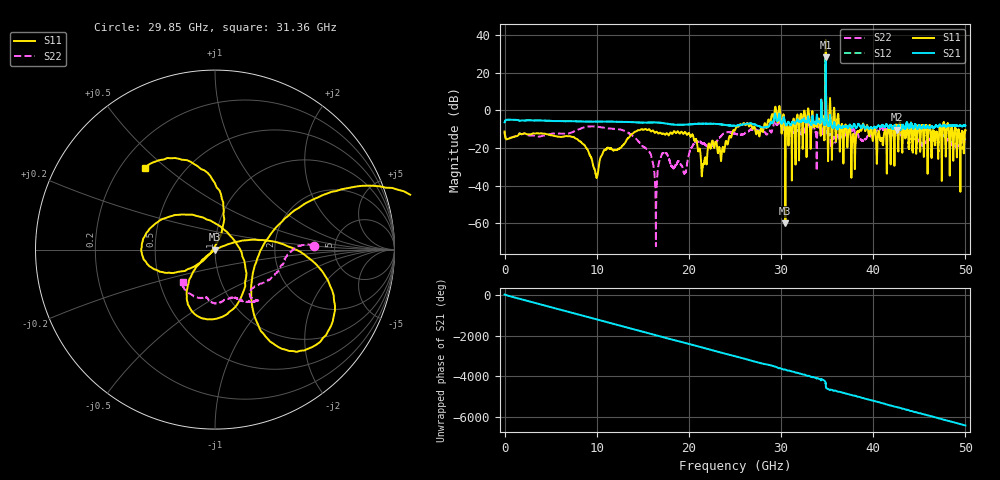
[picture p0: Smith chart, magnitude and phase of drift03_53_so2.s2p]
!Created with skrf (http://scikit-rf.org).
# Hz S RI R 50.0
!freq ReS11 ImS11 ReS21 ImS21 ReS12 ImS12 ReS22 ImS22
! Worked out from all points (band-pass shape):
!   10001 points, 300 kHz to 50 GHz, reference 50 ohm
!   highest |S21| = 28.12 dB at 34.85 GHz (marker M1); lowest = -10.3 dB at 42.55 GHz (marker M2)
!   |S21| within 3 dB of the highest: 34.84368 GHz to 34.84597 GHz (2.291 MHz wide, 0.00657 % of centre)
!   lowest |S11| = -60.1 dB at 30.47 GHz (marker M3), VSWR 1.00, Z = 50 - j0.099 ohm
!   |S11| at or under -10 dB: start of sweep to 15.23 GHz; 15.32 GHz to 25.05 GHz (9.735 GHz wide, 48.2 % of centre); 40.22 GHz to 41.62 GHz (1.393 GHz wide, 3.4 % of centre) (the widest 3 of 50)
!   |S22| runs from -72.2 to 19.0 dB; largest |S21 - S12| = 3.6
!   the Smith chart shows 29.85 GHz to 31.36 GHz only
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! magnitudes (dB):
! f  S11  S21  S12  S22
! 300 kHz  -11.3  -6.4  -6.4  -11.4
! 8.335 GHz  -17.1  -6.0  -6.0  -9.6
! 9.955 GHz  -35.7  -6.1  -6.1  -8.7
! 11 GHz  -20.9  -6.0  -6.0  -9.5
! 13.97 GHz  -12.1  -6.4  -6.4  -13.9
! 16.36 GHz  -11.9  -6.5  -6.5  -42.5
! 16.67 GHz  -12.4  -6.6  -6.5  -29.9
! 17.34 GHz  -12.7  -6.9  -6.9  -22.9
! 19.55 GHz  -11.6  -7.7  -7.7  -33.3
! 20.21 GHz  -13.9  -7.5  -7.5  -20.4
! 21.55 GHz  -28.8  -7.2  -7.2  -17.7
! 25 GHz  -10.6  -8.2  -8.2  -12.5
! 29.6 GHz  -5.5  -5.7  -5.9  -7.8
! 30.47 GHz  -60.1  -7.2  -7.2  -9.1
! 33.34 GHz  -3.8  -6.8  -6.7  -9.3
! 34.85 GHz  37.0  28.1  27.9  19.0
! 35.63 GHz  -6.5  -9.3  -9.2  -16.0
! 37.83 GHz  -12.7  -8.3  -8.4  -9.8
! 38.81 GHz  -8.9  -8.2  -8.2  -16.2
! 41.67 GHz  -9.2  -9.4  -9.3  -11.3
! 42.55 GHz  -8.4  -10.3  -10.3  -13.2
! 50 GHz  -10.6  -8.2  -8.2  -15.4
